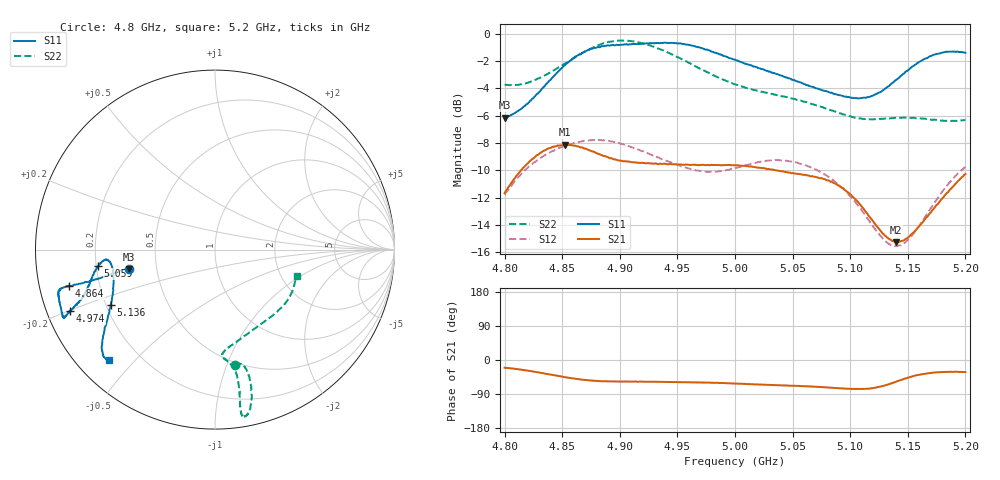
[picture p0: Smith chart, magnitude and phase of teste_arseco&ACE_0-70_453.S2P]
! Network Analyzer HP8722D
! Hewlett-Packard
! Data name: Linha & Wilkinson
! Saver's name: Rodrigo Anjos
! Comments: Teste da utilização de aquisição
! continua pelo VNA HP8722D
! Time and date: 8/5/2025 16:32
!  Frequency  S11  S21  S12  S22
# HZ  S  MA R 50
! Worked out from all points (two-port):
!   401 points, 4.8 GHz to 5.2 GHz, reference 50 ohm
!   highest |S21| = -8.12 dB at 4.852 GHz (marker M1); lowest = -15.3 dB at 5.14 GHz (marker M2)
!   |S21| within 3 dB of the highest: 4.804 GHz to 5.09 GHz (286 MHz wide, 5.78 % of centre); 5.190082 GHz to end of sweep
!   lowest |S11| = -6.1 dB at 4.8 GHz (marker M3), VSWR 2.94, Z = 17.2 - j4.86 ohm
!   |S11| at or under -10 dB: nowhere
!   |S22| runs from -6.4 to -0.5 dB; largest |S21 - S12| = 0.62
!   S11 on the Smith chart (normalised r, x): 4.8 GHz: 0.34, -0.10; 4.864 GHz: 0.09, -0.12; 4.974 GHz: 0.07, -0.20; 5.059 GHz: 0.21, -0.07; 5.136 GHz: 0.22, -0.24; 5.2 GHz: 0.09, -0.42
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4.8e9  0.493 -167.4  0.2609 -20.5  0.2574 -141.8  0.6511 -80.3
4.827e9  0.5943 -166.7  0.3558 -31.3  0.3407 -145.9  0.6786 -75.5
4.852e9  0.7662 -165.8  0.3925 -45.1  0.3886 -150.5  0.7763 -75.1
4.864e9  0.8364 -166.0  0.3869 -50.6  0.4008 -152.3  0.8324 -75.9
4.867e9  0.8493 -166.0  0.3835 -51.7  0.4032 -152.9  0.8486 -76.0
4.879e9  0.8886 -165.8  0.3663 -55.1  0.408 -154.8  0.8984 -77.3
4.899e9  0.9101 -162.9  0.3437 -56.9  0.398 -157.2  0.9442 -79.7
4.934e9  0.9244 -156.6  0.3331 -57.9  0.3516 -155.8  0.8808 -80.9
4.953e9  0.9214 -155.8  0.3321 -58.4  0.327 -152.3  0.8111 -80.2
4.974e9  0.8752 -157.0  0.3303 -59.6  0.3134 -145.7  0.7311 -80.0
5e9  0.804 -159.4  0.33 -62.2  0.3222 -137.6  0.6524 -81.6
5.033e9  0.7194 -165.4  0.318 -66.2  0.3442 -135.0  0.6016 -85.8
5.059e9  0.6571 -172.0  0.3043 -69.1  0.332 -136.9  0.5655 -84.4
5.067e9  0.6393 -173.5  0.3012 -70.0  0.3232 -137.7  0.5522 -82.6
5.099e9  0.5869 -172.2  0.2608 -76.1  0.257 -139.5  0.4993 -67.3
5.115e9  0.5863 -165.1  0.219 -75.7  0.2104 -135.7  0.4867 -55.8
5.134e9  0.6456 -153.4  0.1769 -63.5  0.1693 -119.0  0.4897 -42.9
5.136e9  0.6569 -152.0  0.1749 -61.5  0.1679 -116.5  0.4908 -41.7
5.14e9  0.6788 -150.1  0.1726 -57.2  0.1668 -111.1  0.492 -39.4
5.152e9  0.7471 -144.9  0.1822 -45.0  0.1787 -95.8  0.4922 -33.1
5.17e9  0.8296 -139.5  0.2216 -34.3  0.23 -82.0  0.4846 -25.3
5.2e9  0.8524 -133.7  0.3063 -31.9  0.3256 -77.5  0.4822 -17.8
